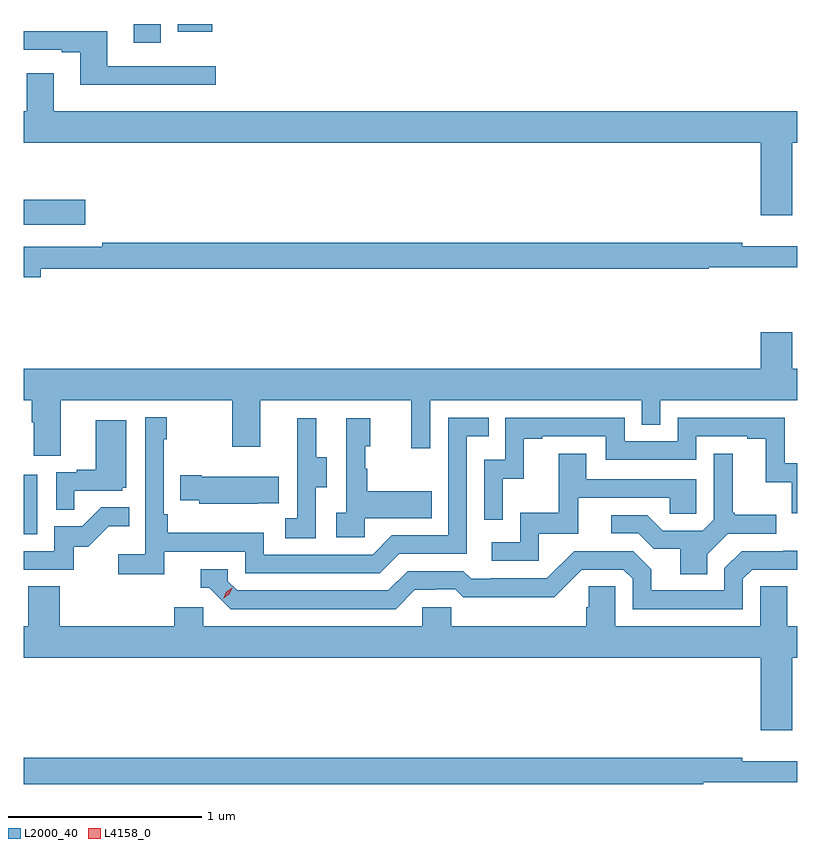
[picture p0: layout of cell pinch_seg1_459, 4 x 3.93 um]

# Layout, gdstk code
import gdstk
lib = gdstk.Library(unit=1e-6, precision=1e-09)
def R(c, l, rs):  # rectangles x0, y0, x1, y1
    for r in rs: c.add(gdstk.rectangle(r[:2], r[2:], *l))
def P(c, l, *ps):  # polygons
    for p in ps: c.add(gdstk.Polygon(p, *l))
L2000_40 = (2000, 40)
L4158_0 = (4158, 0)

pinch_seg1_459 = lib.new_cell('pinch_seg1_459')
R(pinch_seg1_459, L2000_40, [(964.393,512.412,964.462,512.719), (964.393,514.013,964.711,514.143), (964.961,514.953,965.101,515.051), (965.189,515.012,965.368,515.051)])
P(pinch_seg1_459, L2000_40, [(965.386,514.833),(964.825,514.833),(964.825,515.014),(964.393,515.014),(964.393,514.917),(964.589,514.917),(964.589,514.905),(964.685,514.905),(964.685,514.736),(965.386,514.736)],
  [(968.368,514.436),(968.393,514.436),(968.393,514.6),(964.549,514.6),(964.549,514.795),(964.409,514.795),(964.409,514.6),(964.393,514.6),(964.393,514.436),(968.204,514.436),(968.204,514.062),(968.368,514.062)],
  [(964.48,513.784),(967.935,513.784),(967.935,513.792),(968.393,513.792),(968.393,513.901),(968.108,513.901),(968.108,513.92),(964.798,513.92),(964.798,513.9),(964.393,513.9),(964.393,513.742),(964.48,513.742)],
  [(964.585,513.104),(965.47,513.104),(965.47,512.865),(965.617,512.865),(965.617,513.104),(966.398,513.104),(966.398,512.856),(966.495,512.856),(966.495,513.104),(967.59,513.104),(967.59,512.977),(967.686,512.977),(967.686,513.104),(968.393,513.104),(968.393,513.268),(968.368,513.268),(968.368,513.457),(968.204,513.457),(968.204,513.268),(964.393,513.268),(964.393,513.104),(964.433,513.104),(964.433,512.992),(964.445,512.992),(964.445,512.818),(964.585,512.818)],
  [(965.12,512.322),(965.538,512.322),(965.538,512.211),(966.235,512.211),(966.334,512.31),(966.684,512.31),(966.684,512.919),(966.797,512.919),(966.797,513.015),(966.588,513.015),(966.588,512.406),(966.297,512.406),(966.198,512.307),(965.634,512.307),(965.634,512.419),(965.138,512.419),(965.138,512.515),(965.118,512.515),(965.118,512.903),(965.131,512.903),(965.131,513.016),(965.022,513.016),(965.022,512.308),(964.881,512.308),(964.881,512.206),(965.12,512.206)],
  [(966.87,512.699),(966.98,512.699),(966.98,512.907),(967.075,512.907),(967.075,512.919),(967.404,512.919),(967.404,512.796),(967.872,512.796),(967.872,512.919),(968.135,512.919),(968.135,512.907),(968.231,512.907),(968.231,512.681),(968.364,512.681),(968.364,512.52),(968.393,512.52),(968.393,512.779),(968.328,512.779),(968.328,513.015),(967.776,513.015),(967.776,512.892),(967.5,512.892),(967.5,513.015),(966.882,513.015),(966.882,512.796),(966.774,512.796),(966.774,512.487),(966.87,512.487)],
  [(966.156,512.495),(966.503,512.495),(966.503,512.635),(966.169,512.635),(966.169,512.75),(966.159,512.75),(966.159,512.868),(966.184,512.868),(966.184,513.013),(966.06,513.013),(966.06,512.522),(966.009,512.522),(966.009,512.397),(966.156,512.397)],
  [(965.904,512.656),(965.959,512.656),(965.959,512.811),(965.905,512.811),(965.905,513.013),(965.807,513.013),(965.807,512.799),(965.808,512.799),(965.808,512.495),(965.745,512.495),(965.745,512.392),(965.904,512.392)],
  [(964.655,512.637),(964.902,512.637),(964.902,512.652),(964.924,512.652),(964.924,513.001),(964.766,513.001),(964.766,512.746),(964.667,512.746),(964.667,512.733),(964.56,512.733),(964.56,512.539),(964.655,512.539)],
  [(967.056,512.415),(967.261,512.415),(967.261,512.601),(967.735,512.601),(967.735,512.517),(967.872,512.517),(967.872,512.697),(967.303,512.697),(967.303,512.827),(967.159,512.827),(967.159,512.524),(966.96,512.524),(966.96,512.37),(966.813,512.37),(966.813,512.274),(967.056,512.274)],
  [(967.927,512.308),(968.034,512.415),(968.284,512.415),(968.284,512.512),(968.071,512.512),(968.071,512.524),(968.059,512.524),(968.059,512.827),(967.962,512.827),(967.962,512.487),(967.905,512.43),(967.699,512.43),(967.618,512.511),(967.431,512.511),(967.431,512.418),(967.572,512.418),(967.652,512.338),(967.787,512.338),(967.787,512.206),(967.927,512.206)],
  [(965.603,512.573),(965.711,512.573),(965.711,512.71),(965.314,512.71),(965.314,512.718),(965.203,512.718),(965.203,512.588),(965.301,512.588),(965.301,512.57),(965.603,512.57)],
  [(964.65,512.346),(964.726,512.346),(964.833,512.453),(964.937,512.453),(964.937,512.552),(964.793,512.552),(964.695,512.454),(964.551,512.454),(964.551,512.325),(964.393,512.325),(964.393,512.229),(964.65,512.229)],
  [(966.415,512.124),(966.522,512.124),(966.522,512.127),(966.625,512.127),(966.667,512.085),(966.9,512.085),(966.9,512.087),(967.136,512.087),(967.278,512.229),(967.494,512.229),(967.542,512.181),(967.542,512.025),(968.112,512.025),(968.112,512.181),(968.16,512.229),(968.393,512.229),(968.393,512.327),(968.322,512.327),(968.322,512.325),(968.106,512.325),(968.016,512.235),(968.016,512.121),(967.639,512.121),(967.639,512.231),(967.545,512.325),(967.239,512.325),(967.098,512.184),(966.805,512.184),(966.805,512.181),(966.706,512.181),(966.667,512.22),(966.378,512.22),(966.279,512.121),(965.496,512.121),(965.448,512.169),(965.448,512.232),(965.309,512.232),(965.309,512.136),(965.352,512.136),(965.463,512.025),(966.316,512.025)],
  [(968.368,511.772),(968.393,511.772),(968.393,511.936),(968.341,511.936),(968.341,512.144),(968.202,512.144),(968.202,511.936),(967.452,511.936),(967.452,512.144),(967.315,512.144),(967.315,512.034),(967.301,512.034),(967.301,511.936),(966.603,511.936),(966.603,512.034),(966.453,512.034),(966.453,511.936),(965.322,511.936),(965.322,512.034),(965.171,512.034),(965.171,511.936),(964.58,511.936),(964.58,512.144),(964.415,512.144),(964.415,511.936),(964.393,511.936),(964.393,511.772),(968.204,511.772),(968.204,511.398),(968.368,511.398)],
  [(967.906,511.128),(968.393,511.128),(968.393,511.237),(968.108,511.237),(968.108,511.256),(964.393,511.256),(964.393,511.12),(967.906,511.12)])
P(pinch_seg1_459, L4158_0, [(965.426,512.082),(965.426,512.083),(965.441,512.115),(965.471,512.136),(965.471,512.136),(965.471,512.135),(965.456,512.102),(965.426,512.082)])

lib.write_gds('pinch_seg1_459.gds')
